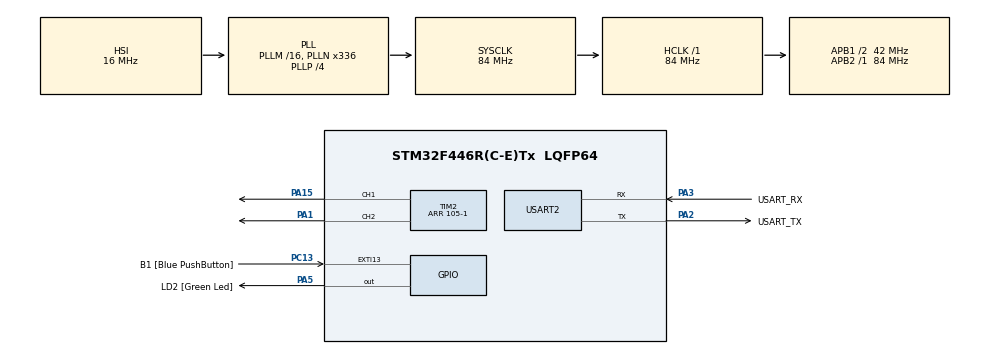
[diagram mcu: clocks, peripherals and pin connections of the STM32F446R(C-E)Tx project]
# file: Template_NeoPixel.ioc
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Dma.Request0=TIM2_CH1
Dma.TIM2_CH1.0.Direction=DMA_MEMORY_TO_PERIPH
Dma.TIM2_CH1.0.FIFOMode=DMA_FIFOMODE_DISABLE
Dma.TIM2_CH1.0.Instance=DMA1_Stream5
Dma.TIM2_CH1.0.MemDataAlignment=DMA_MDATAALIGN_WORD
Dma.TIM2_CH1.0.MemInc=DMA_MINC_ENABLE
Dma.TIM2_CH1.0.Mode=DMA_NORMAL
Dma.TIM2_CH1.0.PeriphDataAlignment=DMA_PDATAALIGN_WORD
Dma.TIM2_CH1.0.PeriphInc=DMA_PINC_DISABLE
Dma.TIM2_CH1.0.Priority=DMA_PRIORITY_LOW
Mcu.Family=STM32F4
Mcu.Name=STM32F446R(C-E)Tx
Mcu.Package=LQFP64
NVIC.DMA1_Stream5_IRQn=true\:0\:0\:false\:false\:true\:false\:true\:true
NVIC.PriorityGroup=NVIC_PRIORITYGROUP_0
PA1.GPIO_Speed=GPIO_SPEED_FREQ_HIGH
PA1.Signal=S_TIM2_CH2
PA13.GPIO_Label=TMS
PA13.Mode=Serial_Wire
PA13.Signal=SYS_JTMS-SWDIO
PA14.GPIO_Label=TCK
PA14.Mode=Serial_Wire
PA14.Signal=SYS_JTCK-SWCLK
PA15.Signal=S_TIM2_CH1_ETR
PA2.GPIO_Label=USART_TX
PA2.Mode=Asynchronous
PA2.Signal=USART2_TX
PA3.GPIO_Label=USART_RX
PA3.Mode=Asynchronous
PA3.Signal=USART2_RX
PA5.GPIO_Label=LD2 [Green Led]
PA5.Signal=GPIO_Output
PB3.GPIO_Label=SWO
PB3.Signal=SYS_JTDO-SWO
PC13.GPIO_Label=B1 [Blue PushButton]
PC13.GPIO_ModeDefaultEXTI=GPIO_MODE_IT_FALLING
PC13.Signal=GPXTI13
PC14-OSC32_IN.Mode=LSE-External-Oscillator
PC14-OSC32_IN.Signal=RCC_OSC32_IN
PC15-OSC32_OUT.Mode=LSE-External-Oscillator
PC15-OSC32_OUT.Signal=RCC_OSC32_OUT
PH0-OSC_IN.Mode=HSE-External-Oscillator
PH0-OSC_IN.Signal=RCC_OSC_IN
PH1-OSC_OUT.Mode=HSE-External-Oscillator
PH1-OSC_OUT.Signal=RCC_OSC_OUT
ProjectManager.HeapSize=0x200
ProjectManager.StackSize=0x400
ProjectManager.TargetToolchain=STM32CubeIDE
RCC.48MHZClocksFreq_Value=84000000
RCC.AHBFreq_Value=84000000
RCC.APB1CLKDivider=RCC_HCLK_DIV2
RCC.APB1Freq_Value=42000000
RCC.APB1TimFreq_Value=84000000
RCC.APB2Freq_Value=84000000
RCC.APB2TimFreq_Value=84000000
RCC.CortexFreq_Value=84000000
RCC.FLatency-AdvancedSettings=FLASH_LATENCY_2
RCC.HCLKFreq_Value=84000000
RCC.HSE_VALUE=8000000
RCC.HSI_VALUE=16000000
RCC.PLLN=336
RCC.PLLP=RCC_PLLP_DIV4
RCC.SYSCLKFreq_VALUE=84000000
RCC.SYSCLKSource=RCC_SYSCLKSOURCE_PLLCLK
RCC.USBFreq_Value=168000000
RCC.VCOOutputFreq_Value=336000000
SH.S_TIM2_CH1_ETR.0=TIM2_CH1,PWM Generation1 CH1
SH.S_TIM2_CH2.0=TIM2_CH2,PWM Generation2 CH2
TIM2.Channel-PWM\ Generation1\ CH1=TIM_CHANNEL_1
TIM2.Channel-PWM\ Generation2\ CH2=TIM_CHANNEL_2
TIM2.Period=105-1
TIM2.Pulse-PWM\ Generation2\ CH2=20
USART2.VirtualMode=VM_ASYNC
VP_TIM2_VS_ClockSourceINT.Mode=Internal
board=NUCLEO-F446RE

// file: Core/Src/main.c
/* USER CODE BEGIN Header */
/**
  ******************************************************************************
  * @file           : main.c
  * @brief          : Main program body
  ******************************************************************************
  * @attention
  *
  * Copyright (c) 2023 STMicroelectronics.
  * All rights reserved.
  *
  * This software is licensed under terms that can be found in the LICENSE file
  * in the root directory of this software component.
  * If no LICENSE file comes with this software, it is provided AS-IS.
  *
  ******************************************************************************
  */
/* USER CODE END Header */
#include "main.h"

/* USER CODE BEGIN Includes */
#include "NeoPixel_STM32.h"
/* USER CODE END Includes */

TIM_HandleTypeDef htim2;
DMA_HandleTypeDef hdma_tim2_ch1;

UART_HandleTypeDef huart2;

void SystemClock_Config(void);
static void MX_GPIO_Init(void);
static void MX_DMA_Init(void);
static void MX_USART2_UART_Init(void);
static void MX_TIM2_Init(void);
/* USER CODE BEGIN PFP */
uint32_t hsl_to_rgb(uint8_t h, uint8_t s, uint8_t l);
/* USER CODE END PFP */

int main(void)
{

  /* MCU Configuration--------------------------------------------------------*/

  /* Reset of all peripherals, Initializes the Flash interface and the Systick. */
  HAL_Init();

  /* Configure the system clock */
  SystemClock_Config();

  /* Initialize all configured peripherals */
  MX_GPIO_Init();
  MX_DMA_Init();
  MX_USART2_UART_Init();
  MX_TIM2_Init();
  /* USER CODE BEGIN 2 */
  //Pisca o LED2
  for(uint8_t i = 0; i < 8; i++)
  {
  	HAL_GPIO_TogglePin(LD2_GPIO_Port, LD2_Pin);
  	HAL_Delay(100);
  }

  //Inicia o PWM no pino PA1 (CN7.30) (não tem relação com os leds)
  HAL_TIM_PWM_Start(&htim2, TIM_CHANNEL_2);
  htim2.Instance->CCR2 = 52;	//Duty cycle = 50%

  //Variável para colotar status das bibliotecas HAL
  HAL_StatusTypeDef status;
  //Preenche 9 leds com cores diferentes padronizadas
  neopixel_fill(BLUE, 0, 1);
  neopixel_fill(RED, 1, 1);
  neopixel_fill(GREEN, 2, 1);
  neopixel_fill(CYAN, 3, 1);
  neopixel_fill(MAGENTA, 4, 1);
  neopixel_fill(YELLOW, 5, 1);
  neopixel_fill(WHITE, 6, 1);
  neopixel_fill(BROWN, 7, 1);
  neopixel_fill(ORANGE, 8, 1);
  //Se o DMA está livre para envio
  if(neopixel_free_to_send())
  {
  	//Atualiza os leds (pino PA15 (CN7.17))
  	status = neopixel_show();
  }
  //Aguarda 2 s
  HAL_Delay(2000);
  //Altera a cor para uma cor personalizada
  neopixel_fill(0x9932CD, 0, 9);
  //Se está o DMA está livre para envio
  if(neopixel_free_to_send())
  {
  	//Atualiza os leds
  	status = neopixel_show();
  }
  //Aguarda 2 s
  HAL_Delay(2000);
  //Apaga todos os leds
  neopixel_blanck_all();
  //Se está o DMA está livre para envio
  if(neopixel_free_to_send())
  {
  	//Atualiza os leds
  	status = neopixel_show();
  }
  //Aguarda 2 s
  HAL_Delay(2000);
  //Função de teste
  neopixel_demo();
  //Trava o loop
  while(1);
  /* USER CODE END 2 */

  /* Infinite loop */
  while (1)
  {

  }
}

void SystemClock_Config(void)
{
  RCC_OscInitTypeDef RCC_OscInitStruct = {0};
  RCC_ClkInitTypeDef RCC_ClkInitStruct = {0};

  /** Configure the main internal regulator output voltage
  */
  __HAL_RCC_PWR_CLK_ENABLE();
  __HAL_PWR_VOLTAGESCALING_CONFIG(PWR_REGULATOR_VOLTAGE_SCALE3);

  /** Initializes the RCC Oscillators according to the specified parameters
  * in the RCC_OscInitTypeDef structure.
  */
  RCC_OscInitStruct.OscillatorType = RCC_OSCILLATORTYPE_HSI;
  RCC_OscInitStruct.HSIState = RCC_HSI_ON;
  RCC_OscInitStruct.HSICalibrationValue = RCC_HSICALIBRATION_DEFAULT;
  RCC_OscInitStruct.PLL.PLLState = RCC_PLL_ON;
  RCC_OscInitStruct.PLL.PLLSource = RCC_PLLSOURCE_HSI;
  RCC_OscInitStruct.PLL.PLLM = 16;
  RCC_OscInitStruct.PLL.PLLN = 336;
  RCC_OscInitStruct.PLL.PLLP = RCC_PLLP_DIV4;
  RCC_OscInitStruct.PLL.PLLQ = 2;
  RCC_OscInitStruct.PLL.PLLR = 2;
  if (HAL_RCC_OscConfig(&RCC_OscInitStruct) != HAL_OK)
  {
    Error_Handler();
  }

  /** Initializes the CPU, AHB and APB buses clocks
  */
  RCC_ClkInitStruct.ClockType = RCC_CLOCKTYPE_HCLK|RCC_CLOCKTYPE_SYSCLK
                              |RCC_CLOCKTYPE_PCLK1|RCC_CLOCKTYPE_PCLK2;
  RCC_ClkInitStruct.SYSCLKSource = RCC_SYSCLKSOURCE_PLLCLK;
  RCC_ClkInitStruct.AHBCLKDivider = RCC_SYSCLK_DIV1;
  RCC_ClkInitStruct.APB1CLKDivider = RCC_HCLK_DIV2;
  RCC_ClkInitStruct.APB2CLKDivider = RCC_HCLK_DIV1;

  if (HAL_RCC_ClockConfig(&RCC_ClkInitStruct, FLASH_LATENCY_2) != HAL_OK)
  {
    Error_Handler();
  }
}

static void MX_TIM2_Init(void)
{

  TIM_ClockConfigTypeDef sClockSourceConfig = {0};
  TIM_MasterConfigTypeDef sMasterConfig = {0};
  TIM_OC_InitTypeDef sConfigOC = {0};

  htim2.Instance = TIM2;
  htim2.Init.Prescaler = 0;
  htim2.Init.CounterMode = TIM_COUNTERMODE_UP;
  htim2.Init.Period = 105-1;
  htim2.Init.ClockDivision = TIM_CLOCKDIVISION_DIV1;
  htim2.Init.AutoReloadPreload = TIM_AUTORELOAD_PRELOAD_DISABLE;
  if (HAL_TIM_Base_Init(&htim2) != HAL_OK)
  {
    Error_Handler();
  }
  sClockSourceConfig.ClockSource = TIM_CLOCKSOURCE_INTERNAL;
  if (HAL_TIM_ConfigClockSource(&htim2, &sClockSourceConfig) != HAL_OK)
  {
    Error_Handler();
  }
  if (HAL_TIM_PWM_Init(&htim2) != HAL_OK)
  {
    Error_Handler();
  }
  sMasterConfig.MasterOutputTrigger = TIM_TRGO_RESET;
  sMasterConfig.MasterSlaveMode = TIM_MASTERSLAVEMODE_DISABLE;
  if (HAL_TIMEx_MasterConfigSynchronization(&htim2, &sMasterConfig) != HAL_OK)
  {
    Error_Handler();
  }
  sConfigOC.OCMode = TIM_OCMODE_PWM1;
  sConfigOC.Pulse = 0;
  sConfigOC.OCPolarity = TIM_OCPOLARITY_HIGH;
  sConfigOC.OCFastMode = TIM_OCFAST_DISABLE;
  if (HAL_TIM_PWM_ConfigChannel(&htim2, &sConfigOC, TIM_CHANNEL_1) != HAL_OK)
  {
    Error_Handler();
  }
  sConfigOC.Pulse = 20;
  if (HAL_TIM_PWM_ConfigChannel(&htim2, &sConfigOC, TIM_CHANNEL_2) != HAL_OK)
  {
    Error_Handler();
  }
  HAL_TIM_MspPostInit(&htim2);

}

static void MX_USART2_UART_Init(void)
{

  huart2.Instance = USART2;
  huart2.Init.BaudRate = 115200;
  huart2.Init.WordLength = UART_WORDLENGTH_8B;
  huart2.Init.StopBits = UART_STOPBITS_1;
  huart2.Init.Parity = UART_PARITY_NONE;
  huart2.Init.Mode = UART_MODE_TX_RX;
  huart2.Init.HwFlowCtl = UART_HWCONTROL_NONE;
  huart2.Init.OverSampling = UART_OVERSAMPLING_16;
  if (HAL_UART_Init(&huart2) != HAL_OK)
  {
    Error_Handler();
  }

}

static void MX_DMA_Init(void)
{

  /* DMA controller clock enable */
  __HAL_RCC_DMA1_CLK_ENABLE();

  /* DMA interrupt init */
  /* DMA1_Stream5_IRQn interrupt configuration */
  HAL_NVIC_SetPriority(DMA1_Stream5_IRQn, 0, 0);
  HAL_NVIC_EnableIRQ(DMA1_Stream5_IRQn);

}

static void MX_GPIO_Init(void)
{
  GPIO_InitTypeDef GPIO_InitStruct = {0};

  /* GPIO Ports Clock Enable */
  __HAL_RCC_GPIOC_CLK_ENABLE();
  __HAL_RCC_GPIOH_CLK_ENABLE();
  __HAL_RCC_GPIOA_CLK_ENABLE();
  __HAL_RCC_GPIOB_CLK_ENABLE();

  /*Configure GPIO pin Output Level */
  HAL_GPIO_WritePin(LD2_GPIO_Port, LD2_Pin, GPIO_PIN_RESET);

  /*Configure GPIO pin : B1_Pin */
  GPIO_InitStruct.Pin = B1_Pin;
  GPIO_InitStruct.Mode = GPIO_MODE_IT_FALLING;
  GPIO_InitStruct.Pull = GPIO_NOPULL;
  HAL_GPIO_Init(B1_GPIO_Port, &GPIO_InitStruct);

  /*Configure GPIO pin : LD2_Pin */
  GPIO_InitStruct.Pin = LD2_Pin;
  GPIO_InitStruct.Mode = GPIO_MODE_OUTPUT_PP;
  GPIO_InitStruct.Pull = GPIO_NOPULL;
  GPIO_InitStruct.Speed = GPIO_SPEED_FREQ_LOW;
  HAL_GPIO_Init(LD2_GPIO_Port, &GPIO_InitStruct);

}

/* USER CODE BEGIN 4 */
// Fast hsl2rgb algorithm: https://stackoverflow.com/questions/13105185/fast-algorithm-for-rgb-hsl-conversion
// Conversor online: https://www.rapidtables.com/convert/color/rgb-to-hsl.html
uint32_t hsl_to_rgb(uint8_t h, uint8_t s, uint8_t l) {
	if(l == 0) return 0;

	volatile uint8_t  r, g, b, lo, c, x, m;
	volatile uint16_t h1, l1, H;
	l1 = l + 1;
	if (l < 128)    c = ((l1 << 1) * s) >> 8;
	else            c = (512 - (l1 << 1)) * s >> 8;

	H = h * 6;              // 0 to 1535 (actually 1530)
	lo = H & 255;           // Low byte  = primary/secondary color mix
	h1 = lo + 1;

	if ((H & 256) == 0)   x = h1 * c >> 8;          // even sextant, like red to yellow
	else                  x = (256 - h1) * c >> 8;  // odd sextant, like yellow to green

	m = l - (c >> 1);
	switch(H >> 8) {       // High byte = sextant of colorwheel
		case 0 : r = c; g = x; b = 0; break; // R to Y
		case 1 : r = x; g = c; b = 0; break; // Y to G
		case 2 : r = 0; g = c; b = x; break; // G to C
		case 3 : r = 0; g = x; b = c; break; // C to B
		case 4 : r = x; g = 0; b = c; break; // B to M
		default: r = c; g = 0; b = x; break; // M to R
	}

	return (((uint32_t)r + m) << 16) | (((uint32_t)g + m) << 8) | ((uint32_t)b + m);
}
/* USER CODE END 4 */

void Error_Handler(void)
{
  __disable_irq();
  while (1)
  {
  }
}
